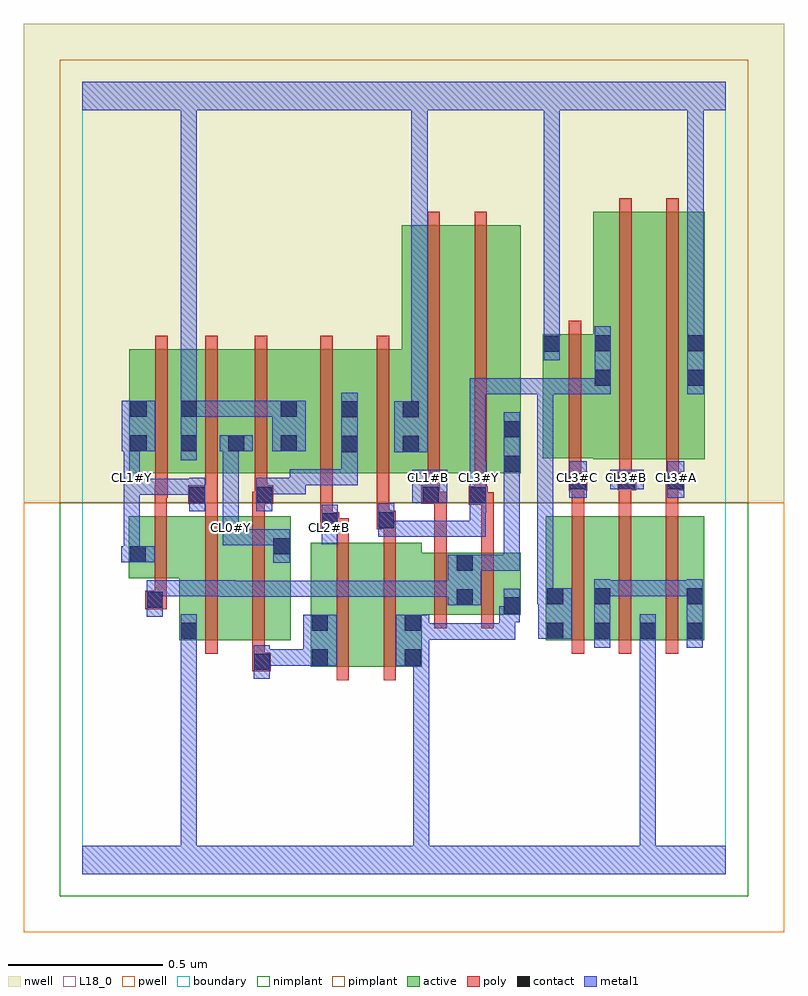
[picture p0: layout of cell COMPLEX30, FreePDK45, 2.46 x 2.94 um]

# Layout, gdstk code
import gdstk
lib = gdstk.Library(unit=1e-6, precision=1e-09)
def R(c, l, rs):  # rectangles x0, y0, x1, y1
    for r in rs: c.add(gdstk.rectangle(r[:2], r[2:], *l))
def A(c, l, x, y, w, h, nx, ny, dx, dy):  # array of equal rectangles
    R(c, l, [(x+i*dx, y+j*dy, x+i*dx+w, y+j*dy+h) for i in range(nx) for j in range(ny)])
active = (1, 0)
pwell = (2, 0)
nwell = (3, 0)
nimplant = (4, 0)
pimplant = (5, 0)
poly = (9, 0)
contact = (10, 0)
metal1 = (11, 0)
L18_0 = (18, 0)
boundary = (235, 0)

complex30 = lib.new_cell('COMPLEX30')
R(complex30, active, [(0.738,0.67,0.918,1.07), (0.738,0.67,0.798,0.948), (0.918,0.67,1.098,1.07), (1.038,0.67,1.098,0.842), (0.314,0.756,0.374,0.956), (0.314,0.756,0.494,1.156), (0.494,0.756,0.674,1.156), (0.614,0.756,0.674,1.156), (1.498,0.756,1.558,1.156), (1.498,0.756,1.71,1.156), (1.65,0.756,1.71,1.156), (1.65,0.756,1.858,1.156), (1.798,0.756,1.858,1.156), (1.798,0.756,2.01,1.156), (1.95,0.756,2.01,1.156), (1.038,0.838,1.266,1.038), (1.206,0.838,1.418,1.038), (1.206,0.838,1.266,1.036), (1.358,0.838,1.418,1.038), (0.15,0.956,0.21,1.156), (0.15,0.956,0.374,1.156), (0.152,1.296,0.212,1.644), (0.152,1.296,0.374,1.696), (0.314,1.296,0.374,1.644), (0.314,1.296,0.528,1.696), (0.468,1.296,0.528,1.644), (0.468,1.296,0.698,1.696), (0.638,1.296,0.698,1.644), (0.638,1.296,0.894,1.696), (0.834,1.296,0.894,1.644), (0.834,1.296,1.092,1.696), (1.032,1.296,1.212,2.096), (1.032,1.296,1.092,1.644), (1.212,1.296,1.418,2.096), (1.358,1.296,1.418,2.044), (1.652,1.34,1.832,2.14), (1.832,1.34,2.012,2.14), (1.952,1.34,2.012,2.044), (1.488,1.344,1.712,1.744), (1.652,1.344,1.712,1.746), (1.488,1.48,1.548,1.744)])
R(complex30, pwell, [(-0.188,-0.188,2.268,1.2)])
R(complex30, nwell, [(-0.188,1.2,2.268,2.748)])
R(complex30, nimplant, [(-0.072,-0.072,2.152,1.2)])
R(complex30, pimplant, [(-0.072,1.2,2.152,2.632)])
A(complex30, poly, 1.582, 0.712, 0.04, 0.488, 3, 1, 0.152, 0)
A(complex30, poly, 1.582, 1.16, 0.04, 0.12, 3, 1, 0.152, 0)
R(complex30, poly, [(0.822,0.626,0.862,1.114), (0.974,0.626,1.014,1.114), (0.55,0.656,0.61,0.716), (0.55,0.676,0.59,0.752), (0.398,0.712,0.438,1.2), (0.55,0.712,0.59,1.2), (1.138,0.794,1.178,1.082), (1.29,0.794,1.33,1.082), (0.204,0.856,0.274,0.916), (0.234,0.876,0.274,0.952), (0.234,0.912,0.274,1.2), (1.138,1.042,1.178,1.236), (1.29,1.042,1.33,1.234), (0.822,1.074,0.862,1.15), (0.974,1.074,1.014,1.154), (0.77,1.11,0.83,1.17), (0.79,1.11,0.83,1.15), (0.79,1.11,0.862,1.15), (0.952,1.114,1.014,1.174), (0.77,1.13,0.81,1.292), (0.952,1.134,0.992,1.174), (0.952,1.134,0.992,1.174), (0.952,1.134,0.992,1.292), (0.234,1.16,0.274,1.256), (0.398,1.16,0.438,1.236), (0.55,1.16,0.59,1.236), (1.25,1.194,1.31,1.254), (1.27,1.194,1.31,1.234), (1.27,1.194,1.33,1.234), (0.342,1.196,0.438,1.256), (0.55,1.196,0.598,1.236), (0.558,1.196,0.598,1.236), (0.558,1.196,0.618,1.256), (1.096,1.196,1.156,1.256), (1.116,1.196,1.156,1.236), (1.116,1.196,1.178,1.236), (1.268,1.214,1.308,1.292), (0.234,1.216,0.274,1.256), (0.234,1.216,0.274,1.256), (0.234,1.216,0.276,1.256), (0.236,1.216,0.276,1.292), (0.398,1.216,0.438,1.292), (0.398,1.216,0.438,1.256), (0.398,1.216,0.438,1.256), (0.558,1.216,0.598,1.292), (1.116,1.216,1.156,1.292), (1.572,1.24,1.632,1.3), (1.582,1.24,1.622,1.28), (1.582,1.24,1.622,1.28), (1.73,1.24,1.79,1.3), (1.734,1.24,1.774,1.28), (1.734,1.24,1.774,1.28), (1.886,1.24,1.926,1.28), (1.886,1.24,1.926,1.28), (1.886,1.24,1.946,1.3), (0.236,1.252,0.276,1.74), (0.398,1.252,0.438,1.74), (0.558,1.252,0.598,1.74), (0.77,1.252,0.81,1.74), (0.952,1.252,0.992,1.74), (1.116,1.252,1.156,2.14), (1.268,1.252,1.308,2.14), (1.572,1.26,1.612,1.34), (1.736,1.26,1.776,1.336), (1.888,1.26,1.928,1.336), (1.736,1.296,1.776,2.184), (1.888,1.296,1.928,2.184), (1.572,1.3,1.612,1.788)])
R(complex30, contact, [(0.554,0.66,0.606,0.712), (0.742,0.674,0.794,0.726), (1.042,0.674,1.094,0.726), (0.318,0.76,0.37,0.812), (1.502,0.76,1.554,0.812), (1.654,0.76,1.706,0.812), (1.802,0.76,1.854,0.812), (1.954,0.76,2.006,0.812), (0.742,0.786,0.794,0.838), (1.042,0.786,1.094,0.838), (1.362,0.842,1.414,0.894), (0.208,0.86,0.26,0.912), (1.21,0.868,1.262,0.92), (1.502,0.872,1.554,0.924), (1.654,0.872,1.706,0.924), (1.954,0.872,2.006,0.924), (1.21,0.98,1.262,1.032), (0.154,1.008,0.206,1.06), (0.618,1.034,0.67,1.086), (0.774,1.114,0.826,1.166), (0.956,1.118,1.008,1.17), (1.254,1.198,1.306,1.25), (0.346,1.2,0.398,1.252), (0.562,1.2,0.614,1.252), (1.1,1.2,1.152,1.252), (1.576,1.244,1.628,1.296), (1.734,1.244,1.786,1.296), (1.89,1.244,1.942,1.296), (1.362,1.3,1.414,1.352), (0.838,1.364,0.89,1.416), (1.036,1.364,1.088,1.416), (0.156,1.366,0.208,1.418), (0.318,1.366,0.37,1.418), (0.472,1.366,0.524,1.418), (0.642,1.366,0.694,1.418), (1.362,1.412,1.414,1.464), (0.838,1.476,0.89,1.528), (1.036,1.476,1.088,1.528), (0.156,1.478,0.208,1.53), (0.318,1.478,0.37,1.53), (0.642,1.478,0.694,1.53), (1.656,1.578,1.708,1.63), (1.956,1.578,2.008,1.63), (1.492,1.688,1.544,1.74), (1.656,1.69,1.708,1.742), (1.956,1.69,2.008,1.742)])
R(complex30, metal1, [(0,0,2.08,0.092), (0.318,0.04,0.37,0.092), (0.318,0.04,0.37,0.092), (0.318,0.04,0.37,0.784), (1.07,0.04,1.122,0.092), (1.07,0.04,1.122,0.092), (1.07,0.04,1.122,0.092), (1.07,0.04,1.122,0.092), (1.07,0.04,1.122,0.092), (1.07,0.04,1.122,0.092), (1.07,0.04,1.122,0.092), (1.07,0.04,1.122,0.092), (1.07,0.04,1.122,0.092), (1.07,0.04,1.122,0.092), (1.07,0.04,1.122,0.092), (1.07,0.04,1.122,0.092), (1.07,0.04,1.122,0.726), (1.802,0.04,1.854,0.092), (1.802,0.04,1.854,0.092), (1.802,0.04,1.854,0.092), (1.802,0.04,1.854,0.092), (1.802,0.04,1.854,0.092), (1.802,0.04,1.854,0.092), (1.802,0.04,1.854,0.092), (1.802,0.04,1.854,0.092), (1.802,0.04,1.854,0.092), (1.802,0.04,1.854,0.092), (1.802,0.04,1.854,0.784), (0.554,0.632,0.606,0.74), (0.554,0.674,0.716,0.726), (0.664,0.674,0.716,0.726), (0.664,0.674,0.716,0.726), (0.664,0.674,0.716,0.726), (0.664,0.674,0.766,0.726), (0.714,0.674,0.822,0.838), (1.014,0.674,1.122,0.838), (0.318,0.732,0.37,0.784), (0.318,0.732,0.37,0.784), (0.318,0.732,0.37,0.784), (0.318,0.732,0.37,0.784), (0.318,0.732,0.37,0.784), (0.318,0.732,0.37,0.784), (0.318,0.732,0.37,0.784), (0.318,0.732,0.37,0.784), (0.318,0.732,0.37,0.784), (0.318,0.732,0.37,0.784), (0.318,0.732,0.37,0.84), (1.654,0.732,1.706,0.952), (1.802,0.732,1.854,0.784), (1.802,0.732,1.854,0.784), (1.802,0.732,1.854,0.84), (1.954,0.732,2.006,0.952), (1.07,0.758,1.122,0.81), (1.07,0.758,1.122,0.81), (1.07,0.758,1.29,0.81), (1.238,0.758,1.29,0.81), (1.238,0.758,1.29,0.81), (1.238,0.758,1.29,0.81), (1.238,0.758,1.29,0.81), (1.238,0.758,1.29,0.81), (1.238,0.758,1.4,0.81), (1.348,0.758,1.4,0.866), (1.474,0.76,1.582,0.924), (1.348,0.814,1.414,0.866), (1.362,0.814,1.414,0.922), (0.208,0.832,0.26,0.95), (1.182,0.868,1.29,1.032), (1.47,0.872,1.526,0.924), (1.47,0.872,1.522,1.602), (1.474,0.872,1.526,0.924), (0.444,0.896,0.614,0.948), (0.444,0.896,0.496,0.95), (0.562,0.896,0.614,0.948), (0.562,0.896,0.614,0.948), (0.562,0.896,0.614,0.948), (0.562,0.896,0.78,0.948), (0.728,0.896,0.78,0.948), (0.728,0.896,0.78,0.948), (0.728,0.896,0.78,0.948), (0.728,0.896,0.896,0.948), (0.844,0.896,0.896,0.948), (0.844,0.896,0.896,0.948), (0.844,0.896,0.896,0.948), (0.844,0.896,1.006,0.948), (0.954,0.896,1.006,0.948), (0.954,0.896,1.006,0.948), (0.954,0.896,1.006,0.948), (0.954,0.896,1.18,0.948), (1.128,0.896,1.18,0.948), (1.128,0.896,1.234,0.948), (0.208,0.898,0.386,0.95), (0.334,0.898,0.386,0.95), (0.334,0.898,0.386,0.95), (0.334,0.898,0.386,0.95), (0.334,0.898,0.496,0.95), (0.444,0.898,0.496,0.95), (0.444,0.898,0.496,0.95), (1.654,0.898,1.706,0.95), (1.654,0.898,1.706,0.95), (1.654,0.898,1.896,0.95), (1.844,0.898,1.896,0.95), (1.844,0.898,2.006,0.95), (1.954,0.898,2.006,0.95), (1.954,0.898,2.006,0.95), (1.238,0.98,1.29,1.032), (1.238,0.98,1.29,1.032), (1.238,0.98,1.414,1.032), (1.362,0.98,1.414,1.032), (1.362,0.98,1.414,1.324), (0.618,1.006,0.67,1.114), (0.126,1.008,0.234,1.06), (0.134,1.008,0.186,1.278), (0.454,1.062,0.606,1.114), (0.454,1.062,0.506,1.174), (0.554,1.062,0.606,1.114), (0.554,1.062,0.67,1.114), (0.618,1.062,0.67,1.114), (0.618,1.062,0.67,1.114), (0.774,1.066,0.826,1.194), (0.956,1.09,1.118,1.142), (0.956,1.09,1.008,1.198), (1.066,1.09,1.118,1.142), (1.066,1.09,1.118,1.142), (1.066,1.09,1.118,1.142), (1.066,1.09,1.304,1.142), (1.252,1.09,1.304,1.142), (1.252,1.09,1.304,1.278), (0.454,1.122,0.506,1.418), (1.254,1.17,1.306,1.278), (0.346,1.172,0.398,1.28), (0.562,1.172,0.614,1.28), (1.066,1.2,1.18,1.306), (1.574,1.216,1.63,1.334), (1.89,1.216,1.946,1.334), (0.134,1.226,0.186,1.278), (0.134,1.226,0.186,1.278), (0.134,1.226,0.186,1.334), (0.134,1.226,0.346,1.278), (0.294,1.226,0.346,1.278), (0.294,1.226,0.398,1.278), (1.252,1.226,1.306,1.334), (1.254,1.226,1.306,1.278), (0.562,1.228,0.716,1.28), (0.664,1.228,0.716,1.28), (0.664,1.228,0.722,1.28), (0.67,1.228,0.722,1.28), (0.67,1.228,0.722,1.308), (1.706,1.244,1.814,1.306), (0.67,1.256,0.722,1.308), (0.67,1.256,0.89,1.308), (0.838,1.256,0.89,1.388), (1.362,1.272,1.414,1.324), (1.362,1.272,1.414,1.324), (1.362,1.272,1.414,1.324), (1.362,1.272,1.414,1.324), (1.362,1.272,1.414,1.492), (0.134,1.282,0.186,1.418), (1.252,1.282,1.304,1.602), (0.838,1.336,0.89,1.388), (0.838,1.336,0.89,1.556), (0.318,1.338,0.37,1.558), (1.008,1.364,1.116,1.528), (0.128,1.366,0.236,1.53), (0.134,1.366,0.186,1.418), (0.134,1.366,0.186,1.418), (0.444,1.366,0.552,1.418), (0.454,1.366,0.506,1.418), (0.454,1.366,0.506,1.418), (0.614,1.366,0.722,1.53), (1.064,1.476,1.116,1.528), (1.064,1.476,1.116,1.528), (1.064,1.476,1.116,1.528), (1.064,1.476,1.116,1.528), (1.064,1.476,1.116,1.528), (1.064,1.476,1.116,1.528), (1.064,1.476,1.116,1.528), (1.064,1.476,1.116,1.528), (1.064,1.476,1.116,2.52), (0.318,1.478,0.37,1.53), (0.318,1.478,0.37,1.53), (0.318,1.478,0.504,1.53), (0.452,1.478,0.504,1.53), (0.452,1.478,0.606,1.53), (0.554,1.478,0.606,1.53), (0.554,1.478,0.666,1.53), (0.318,1.506,0.37,1.558), (0.318,1.506,0.37,1.558), (0.318,1.506,0.37,1.558), (0.318,1.506,0.37,1.558), (0.318,1.506,0.37,1.558), (0.318,1.506,0.37,1.558), (0.318,1.506,0.37,1.558), (0.318,1.506,0.37,1.558), (0.318,1.506,0.37,1.558), (0.318,1.506,0.37,1.558), (0.318,1.506,0.37,1.558), (0.318,1.506,0.37,1.558), (0.318,1.506,0.37,1.558), (0.318,1.506,0.37,1.558), (0.318,1.506,0.37,1.558), (0.318,1.506,0.37,1.558), (0.318,1.506,0.37,2.52), (1.252,1.55,1.304,1.602), (1.252,1.55,1.304,1.602), (1.252,1.55,1.304,1.602), (1.252,1.55,1.304,1.602), (1.252,1.55,1.304,1.602), (1.252,1.55,1.416,1.602), (1.364,1.55,1.416,1.602), (1.364,1.55,1.522,1.602), (1.47,1.55,1.522,1.602), (1.47,1.55,1.522,1.602), (1.47,1.55,1.522,1.602), (1.47,1.55,1.522,1.602), (1.47,1.55,1.526,1.602), (1.474,1.55,1.526,1.602), (1.474,1.55,1.526,1.602), (1.474,1.55,1.708,1.602), (1.656,1.55,1.708,1.77), (1.956,1.55,2.008,1.77), (1.492,1.66,1.544,1.768), (1.492,1.716,1.544,1.768), (1.492,1.716,1.544,1.768), (1.492,1.716,1.544,1.768), (1.492,1.716,1.544,1.768), (1.492,1.716,1.544,2.52), (1.956,1.718,2.008,2.52), (1.956,1.718,2.008,1.77), (1.956,1.718,2.008,1.77), (1.956,1.718,2.008,1.77), (1.956,1.718,2.008,1.77), (1.956,1.718,2.008,1.77), (1.956,1.718,2.008,1.77), (0,2.468,2.08,2.56), (1.492,2.468,1.544,2.52), (1.492,2.468,1.544,2.52), (1.492,2.468,1.544,2.52), (1.492,2.468,1.544,2.52), (1.492,2.468,1.544,2.52), (1.492,2.468,1.544,2.52), (1.492,2.468,1.544,2.52), (1.492,2.468,1.544,2.52), (1.492,2.468,1.544,2.52), (1.492,2.468,1.544,2.52), (1.492,2.468,1.544,2.52), (1.492,2.468,1.544,2.52), (1.956,2.468,2.008,2.52), (1.956,2.468,2.008,2.52)])
A(complex30, L18_0, 1.574, 1.254, 0.052, 0.052, 3, 1, 0.16, 0)
R(complex30, L18_0, [(0,0,2.08,0.092), (0.318,0.04,0.37,0.092), (0.318,0.04,0.37,0.092), (0.318,0.04,0.37,0.784), (1.07,0.04,1.122,0.092), (1.07,0.04,1.122,0.092), (1.07,0.04,1.122,0.092), (1.07,0.04,1.122,0.092), (1.07,0.04,1.122,0.092), (1.07,0.04,1.122,0.092), (1.07,0.04,1.122,0.092), (1.07,0.04,1.122,0.092), (1.07,0.04,1.122,0.092), (1.07,0.04,1.122,0.092), (1.07,0.04,1.122,0.092), (1.07,0.04,1.122,0.092), (1.07,0.04,1.122,0.726), (1.802,0.04,1.854,0.092), (1.802,0.04,1.854,0.092), (1.802,0.04,1.854,0.092), (1.802,0.04,1.854,0.092), (1.802,0.04,1.854,0.092), (1.802,0.04,1.854,0.092), (1.802,0.04,1.854,0.092), (1.802,0.04,1.854,0.092), (1.802,0.04,1.854,0.092), (1.802,0.04,1.854,0.092), (1.802,0.04,1.854,0.784), (1.014,0.674,1.122,0.838), (0.318,0.732,0.37,0.84), (0.318,0.732,0.37,0.784), (0.318,0.732,0.37,0.784), (0.318,0.732,0.37,0.784), (0.318,0.732,0.37,0.784), (0.318,0.732,0.37,0.784), (0.318,0.732,0.37,0.784), (0.318,0.732,0.37,0.784), (0.318,0.732,0.37,0.784), (0.318,0.732,0.37,0.784), (0.318,0.732,0.37,0.784), (1.802,0.732,1.854,0.84), (1.802,0.732,1.854,0.784), (1.802,0.732,1.854,0.784), (1.07,0.758,1.122,0.81), (1.07,0.758,1.122,0.81), (1.07,0.758,1.29,0.81), (1.238,0.758,1.29,0.81), (1.238,0.758,1.29,0.81), (1.238,0.758,1.29,0.81), (1.238,0.758,1.29,0.81), (1.238,0.758,1.29,0.81), (1.238,0.758,1.4,0.81), (1.348,0.758,1.4,0.866), (1.474,0.76,1.582,0.924), (1.348,0.814,1.414,0.866), (1.362,0.814,1.414,0.922), (1.47,0.872,1.526,0.924), (1.47,0.872,1.522,1.602), (1.474,0.872,1.526,0.924), (0.618,1.006,0.67,1.114), (0.126,1.008,0.234,1.06), (0.134,1.008,0.186,1.278), (0.454,1.062,0.506,1.174), (0.454,1.062,0.606,1.114), (0.554,1.062,0.606,1.114), (0.554,1.062,0.67,1.114), (0.618,1.062,0.67,1.114), (0.618,1.062,0.67,1.114), (0.774,1.066,0.826,1.194), (0.956,1.09,1.008,1.198), (0.956,1.09,1.118,1.142), (1.066,1.09,1.118,1.142), (1.066,1.09,1.118,1.142), (1.066,1.09,1.118,1.142), (1.066,1.09,1.304,1.142), (1.252,1.09,1.304,1.142), (1.252,1.09,1.304,1.278), (0.454,1.094,0.506,1.146), (0.774,1.094,0.826,1.146), (0.454,1.122,0.506,1.418), (1.254,1.17,1.306,1.278), (0.346,1.172,0.398,1.28), (1.066,1.2,1.18,1.306), (1.574,1.216,1.63,1.334), (1.89,1.216,1.946,1.334), (0.134,1.226,0.186,1.334), (0.134,1.226,0.186,1.278), (0.134,1.226,0.186,1.278), (0.134,1.226,0.346,1.278), (0.294,1.226,0.346,1.278), (0.294,1.226,0.398,1.278), (1.252,1.226,1.306,1.334), (1.254,1.226,1.306,1.278), (1.706,1.244,1.814,1.306), (0.134,1.254,0.186,1.306), (1.094,1.254,1.146,1.306), (1.254,1.254,1.306,1.306), (0.134,1.282,0.186,1.418), (1.252,1.282,1.304,1.602), (0.318,1.338,0.37,1.558), (1.008,1.364,1.116,1.528), (0.128,1.366,0.236,1.53), (0.134,1.366,0.186,1.418), (0.134,1.366,0.186,1.418), (0.444,1.366,0.552,1.418), (0.454,1.366,0.506,1.418), (0.454,1.366,0.506,1.418), (0.614,1.366,0.722,1.53), (1.064,1.476,1.116,1.528), (1.064,1.476,1.116,1.528), (1.064,1.476,1.116,1.528), (1.064,1.476,1.116,1.528), (1.064,1.476,1.116,1.528), (1.064,1.476,1.116,1.528), (1.064,1.476,1.116,1.528), (1.064,1.476,1.116,1.528), (1.064,1.476,1.116,2.52), (0.318,1.478,0.37,1.53), (0.318,1.478,0.37,1.53), (0.318,1.478,0.504,1.53), (0.452,1.478,0.504,1.53), (0.452,1.478,0.606,1.53), (0.554,1.478,0.606,1.53), (0.554,1.478,0.666,1.53), (0.318,1.506,0.37,1.558), (0.318,1.506,0.37,1.558), (0.318,1.506,0.37,1.558), (0.318,1.506,0.37,1.558), (0.318,1.506,0.37,1.558), (0.318,1.506,0.37,1.558), (0.318,1.506,0.37,1.558), (0.318,1.506,0.37,1.558), (0.318,1.506,0.37,1.558), (0.318,1.506,0.37,1.558), (0.318,1.506,0.37,1.558), (0.318,1.506,0.37,1.558), (0.318,1.506,0.37,1.558), (0.318,1.506,0.37,1.558), (0.318,1.506,0.37,1.558), (0.318,1.506,0.37,1.558), (0.318,1.506,0.37,2.52), (1.252,1.55,1.304,1.602), (1.252,1.55,1.304,1.602), (1.252,1.55,1.304,1.602), (1.252,1.55,1.304,1.602), (1.252,1.55,1.304,1.602), (1.252,1.55,1.416,1.602), (1.364,1.55,1.416,1.602), (1.364,1.55,1.522,1.602), (1.47,1.55,1.522,1.602), (1.47,1.55,1.522,1.602), (1.47,1.55,1.522,1.602), (1.47,1.55,1.522,1.602), (1.47,1.55,1.526,1.602), (1.474,1.55,1.526,1.602), (1.474,1.55,1.526,1.602), (1.474,1.55,1.708,1.602), (1.656,1.55,1.708,1.77), (1.956,1.55,2.008,1.77), (1.492,1.66,1.544,1.768), (1.492,1.716,1.544,1.768), (1.492,1.716,1.544,1.768), (1.492,1.716,1.544,1.768), (1.492,1.716,1.544,1.768), (1.492,1.716,1.544,2.52), (1.956,1.718,2.008,1.77), (1.956,1.718,2.008,1.77), (1.956,1.718,2.008,1.77), (1.956,1.718,2.008,1.77), (1.956,1.718,2.008,1.77), (1.956,1.718,2.008,1.77), (1.956,1.718,2.008,2.52), (0,2.468,2.08,2.56), (1.492,2.468,1.544,2.52), (1.492,2.468,1.544,2.52), (1.492,2.468,1.544,2.52), (1.492,2.468,1.544,2.52), (1.492,2.468,1.544,2.52), (1.492,2.468,1.544,2.52), (1.492,2.468,1.544,2.52), (1.492,2.468,1.544,2.52), (1.492,2.468,1.544,2.52), (1.492,2.468,1.544,2.52), (1.492,2.468,1.544,2.52), (1.492,2.468,1.544,2.52), (1.956,2.468,2.008,2.52), (1.956,2.468,2.008,2.52)])
R(complex30, boundary, [(0,0,2.08,2.56)])
complex30.add(gdstk.Label('CL0#Y', (0.48,1.12), layer=11, texttype=0))
complex30.add(gdstk.Label('CL1#B', (1.12,1.28), layer=11, texttype=0))
complex30.add(gdstk.Label('CL1#Y', (0.16,1.28), layer=11, texttype=0))
complex30.add(gdstk.Label('CL2#B', (0.8,1.12), layer=11, texttype=0))
complex30.add(gdstk.Label('CL3#A', (1.92,1.28), layer=11, texttype=0))
complex30.add(gdstk.Label('CL3#B', (1.76,1.28), layer=11, texttype=0))
complex30.add(gdstk.Label('CL3#C', (1.6,1.28), layer=11, texttype=0))
complex30.add(gdstk.Label('CL3#Y', (1.28,1.28), layer=11, texttype=0))

lib.write_gds('COMPLEX30.gds')
